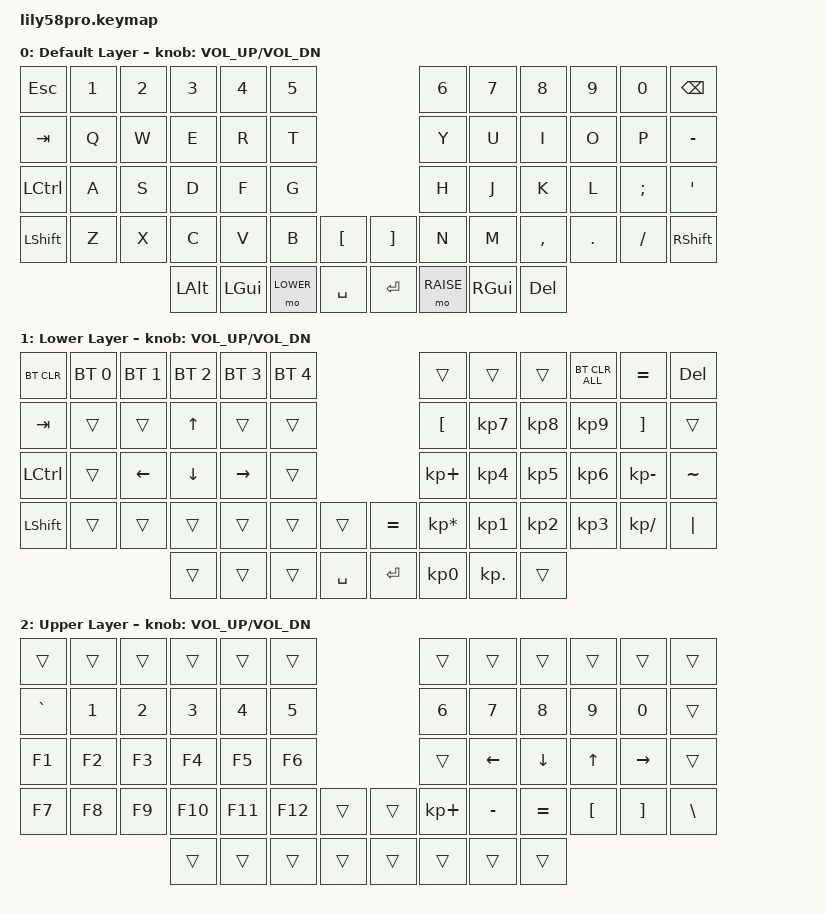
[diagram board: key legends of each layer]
/*
 * Copyright (c) 2020 The ZMK Contributors
 *
 * SPDX-License-Identifier: MIT
 */

#include <behaviors.dtsi>
#include <dt-bindings/zmk/keys.h>
#include <dt-bindings/zmk/bt.h>
#include <dt-bindings/zmk/ext_power.h>

#define DEFAULT 0
#define LOWER 1
#define RAISE 2

/ {
    keymap {
        compatible = "zmk,keymap";

        default_layer {
            display-name = "Default Layer";
    // ------------------------------------------------------------------------------------------------------------
    // |  ESC  |  1  |  2  |  3   |  4   |  5   |                        |  6   |  7    |  8    |  9   |   0   | BK SP |
    // |  TAB  |  Q  |  W  |  E   |  R   |  T   |                        |  Y   |  U    |  I    |  O   |   P   |   -   |
    // |  CTRL |  A  |  S  |  D   |  F   |  G   |                        |  H   |  J    |  K    |  L   |   ;   |   '   |
    // | SHIFT |  Z  |  X  |  C   |  V   |  B   |     "["  |  |  "]"     |  N   |  M    |  ,    |  .   |   /   | SHIFT |
    //                     | LALT | GUI  |LOWER |  SPACE   |  |  ENTER   | RAISE| GUI   | DEL   |
    //
    //                                          MB1     MB2     MB3     MB4
    //                                          MB0                     MB5
    //
                bindings = <
    &kp ESC   &kp N1 &kp N2 &kp N3   &kp N4   &kp N5                            &kp N6     &kp N7   &kp N8    &kp N9  &kp N0   &kp BSPC
    &kp TAB   &kp Q  &kp W  &kp E    &kp R    &kp T                             &kp Y      &kp U    &kp I     &kp O   &kp P    &kp MINUS
    &kp LCTRL &kp A  &kp S  &kp D    &kp F    &kp G                             &kp H      &kp J    &kp K     &kp L   &kp SEMI &kp SQT
    &kp LSHFT &kp Z  &kp X  &kp C    &kp V    &kp B      &kp LBKT   &kp RBKT    &kp N      &kp M    &kp COMMA &kp DOT &kp FSLH &kp RSHFT
                            &kp LALT &kp LGUI &mo LOWER  &kp SPACE  &kp RET     &mo RAISE  &kp RGUI &kp DEL

                >;

                sensor-bindings = <&inc_dec_kp C_VOL_UP C_VOL_DN>;
            };  

       lower_layer {
            display-name = "Lower Layer";
    //
    // These are changed to match the Charybdis 4x6 as close as possible
    //
    // ------------------------------------------------------------------------------------------------------------
    // | BTCLR | BT1 | BT2 |  BT3 |  BT4 |  BT5 |                   |      |       |       |BTCLR_ALL|   =   |  DEL  |
    // |  TAB  |     |     |  ^   |      |      |                   | "["  |   7   |   8   |   9     |  "]"  |       |
    // | LCTL  |     |  <  |  v   |  >   |      |                   |  +   |   4   |   5   |   6     |   -   |   ~   |
    // | LSHFT |     |     |      |      |      |        |  |   =   |  *   |   1   |   2   |   3     |   /   |  "|"  |
    //                     |      |      |      |  SPACE |  | ENTER |   0  |   .   |       |
    //
    //                                          MB1     MB2     MB3     MB4
    //                                          MB0                     MB5
    //
                bindings = <
    &bt BT_CLR &bt BT_SEL 0     &bt BT_SEL 1      &bt BT_SEL 2 &bt BT_SEL 3 &bt BT_SEL 4                          &trans          &trans      &trans      &bt BT_CLR_ALL    &kp EQUAL     &kp DEL
    &kp TAB    &trans           &trans            &kp UP       &trans       &trans                                &kp LBKT        &kp KP_N7   &kp KP_N8   &kp KP_N9         &kp RBKT      &trans
    &kp LCTRL  &trans           &kp LEFT          &kp DOWN     &kp RIGHT    &trans                                &kp KP_PLUS     &kp KP_N4   &kp KP_N5   &kp KP_N6         &kp KP_MINUS  &kp TILDE
    &kp LSHFT  &trans           &trans            &trans       &trans       &trans       &trans      &kp EQUAL &kp KP_MULTIPLY &kp KP_N1   &kp KP_N2   &kp KP_N3         &kp KP_DIVIDE &kp PIPE
                                                  &trans       &trans       &trans       &kp SPACE   &kp RET      &kp KP_N0       &kp KP_DOT  &trans

                >;

                sensor-bindings = <&inc_dec_kp C_VOL_UP C_VOL_DN>;
            };

        raise_layer {
            display-name = "Upper Layer";
    // ------------------------------------------------------------------------------------------------------------
    // |       |     |     |      |      |      |                   |      |       |       |      |       |       |
    // |   `   |  1  |  2  |  3   |  4   |  5   |                   |  6   |   7   |   8   |  9   |   0   |       |
    // |   F1  |  F2 |  F3 |  F4  |  F5  |  F6  |                   |      |   <-  |   v   |  ^   |  ->   |       |
    // |   F7  |  F8 |  F9 |  F10 |  F11 |  F12 |        |  |       |  +   |   -   |   =   |  [   |   ]   |   \   |
    //                     |      |      |      |        |  |       |      |       |       |
    //
    //                                          MB1     MB2     MB3     MB4
    //                                          MB0                     MB5
    //
                bindings = <
    &trans    &trans &trans &trans  &trans  &trans                       &trans      &trans    &trans    &trans   &trans    &trans
    &kp GRAVE &kp N1 &kp N2 &kp N3  &kp N4  &kp N5                       &kp N6      &kp N7    &kp N8    &kp N9   &kp N0    &trans
    &kp F1    &kp F2 &kp F3 &kp F4  &kp F5  &kp F6                       &trans      &kp LEFT  &kp DOWN  &kp UP   &kp RIGHT &trans
    &kp F7    &kp F8 &kp F9 &kp F10 &kp F11 &kp F12   &trans   &trans    &kp KP_PLUS &kp MINUS &kp EQUAL &kp LBKT &kp RBKT  &kp BSLH
                            &trans  &trans  &trans    &trans   &trans    &trans      &trans    &trans

                >;

            sensor-bindings = <&inc_dec_kp C_VOL_UP C_VOL_DN>;
        };
    };
};
